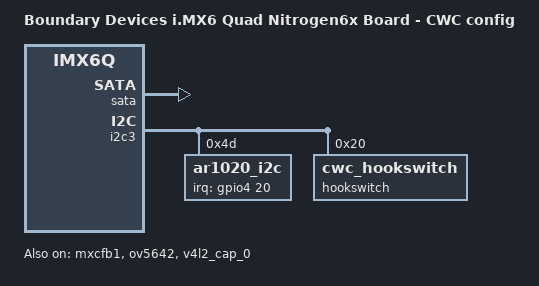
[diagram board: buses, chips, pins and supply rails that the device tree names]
/*
 * Copyright 2013 Boundary Devices
 * Copyright 2012 Freescale Semiconductor, Inc.
 * Copyright 2011 Linaro Ltd.
 *
 * The code contained herein is licensed under the GNU General Public
 * License. You may obtain a copy of the GNU General Public License
 * Version 2 or later at the following locations:
 *
 * http://www.opensource.org/licenses/gpl-license.html
 * http://www.gnu.org/copyleft/gpl.html
 */

/dts-v1/;

#include <dt-bindings/interrupt-controller/irq.h>
#include "imx6q.dtsi"
#include "imx6qdl-nitrogen6x.dtsi"

/ {
	model = "Boundary Devices i.MX6 Quad Nitrogen6x Board - CWC config";
	compatible = "fsl,imx6q-nitrogen6x", "fsl,imx6q";
};

&hdmi_core {
	status = "disabled";
};

&mxcfb1 {
	status = "okay";
};

&mxcfb2 {
	status = "disabled";
};

&mxcfb3 {
	status = "disabled";
};

&mxcfb4 {
	status = "disabled";
};

&ov5640 {
	status = "disabled";
};

&ov5640_mipi {
	status = "disabled";
};

&ov5642 {
	ipu_id = <0>;
	csi_id = <0>;
	status = "okay";
};

&pinctrl_ov5640 { /* parallel camera */
	fsl,pins = <
		MX6QDL_PAD_EIM_A17__IPU2_CSI1_DATA12	0xb0b1
		MX6QDL_PAD_EIM_A18__IPU2_CSI1_DATA13	0xb0b1
		MX6QDL_PAD_EIM_A19__IPU2_CSI1_DATA14	0xb0b1
		MX6QDL_PAD_EIM_A20__IPU2_CSI1_DATA15	0xb0b1
		MX6QDL_PAD_EIM_A21__IPU2_CSI1_DATA16	0xb0b1
		MX6QDL_PAD_EIM_A22__IPU2_CSI1_DATA17	0xb0b1
		MX6QDL_PAD_EIM_A23__IPU2_CSI1_DATA18	0xb0b1
		MX6QDL_PAD_EIM_EB2__IPU2_CSI1_DATA19	0xb0b1
		MX6QDL_PAD_EIM_DA10__IPU2_CSI1_DATA_EN	0xb0b1
		MX6QDL_PAD_EIM_A16__IPU2_CSI1_PIXCLK	0xb0b1
		MX6QDL_PAD_EIM_DA11__IPU2_CSI1_HSYNC	0xb0b1
		MX6QDL_PAD_EIM_DA12__IPU2_CSI1_VSYNC	0xb0b1
	>;
};

&sata {
	status = "okay";
};

&v4l2_cap_0 {
	ipu_id = <0>;
	csi_id = <0>;
	mipi_camera = <0>;
	status = "okay" ;
};

/* ov5640_mipi */
&v4l2_cap_1 {
	status = "disabled" ;
};

/* ov5640, ov5642 */
&v4l2_cap_2 {
	status = "disabled" ;
};

&ov5640_mipi {
	status = "disabled" ;
};

&tsc2004 {
	status = "disabled" ;
};

&flexcan1 {
	status = "disabled" ;
};

&i2c3 {
	ar1020_i2c@4d {
		compatible = "ar1020_i2c";
		reg = <0x4d>;
		pinctrl-names = "default";
		pinctrl-0 = <&pinctrl_tsc2004>;
		interrupt-parent = <&gpio4>;
		interrupts = <20 IRQ_TYPE_LEVEL_LOW>;
		status = "okay";
	};

	hookswitch@20 {
		compatible = "cwc_hookswitch";
		reg = <0x20>;
		status = "okay";
	};
};
